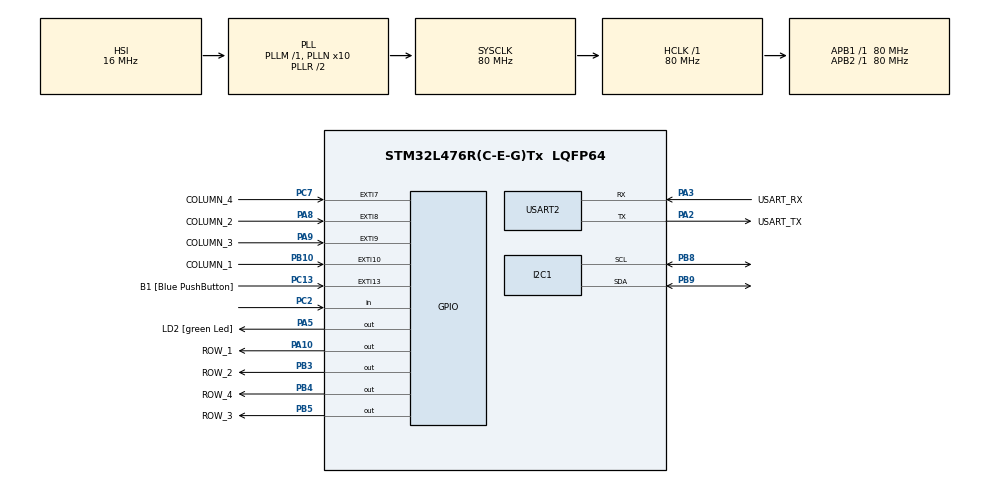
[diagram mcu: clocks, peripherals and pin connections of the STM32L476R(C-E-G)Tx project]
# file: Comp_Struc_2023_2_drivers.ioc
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I2C1.Timing=0x10909CEC
Mcu.Family=STM32L4
Mcu.Name=STM32L476R(C-E-G)Tx
Mcu.Package=LQFP64
NVIC.EXTI15_10_IRQn=true\:0\:0\:false\:false\:true\:true\:true\:true
NVIC.EXTI9_5_IRQn=true\:0\:0\:false\:false\:true\:true\:true\:true
NVIC.PriorityGroup=NVIC_PRIORITYGROUP_4
NVIC.USART2_IRQn=true\:0\:0\:false\:false\:true\:true\:true\:true
PA10.GPIO_Label=ROW_1
PA10.Signal=GPIO_Output
PA13\ (JTMS-SWDIO).GPIO_Label=TMS
PA13\ (JTMS-SWDIO).Mode=Serial_Wire
PA13\ (JTMS-SWDIO).Signal=SYS_JTMS-SWDIO
PA14\ (JTCK-SWCLK).GPIO_Label=TCK
PA14\ (JTCK-SWCLK).Mode=Serial_Wire
PA14\ (JTCK-SWCLK).Signal=SYS_JTCK-SWCLK
PA2.GPIO_Label=USART_TX
PA2.GPIO_Mode=GPIO_MODE_AF_PP
PA2.GPIO_PuPd=GPIO_NOPULL
PA2.GPIO_Speed=GPIO_SPEED_FREQ_VERY_HIGH
PA2.Mode=Asynchronous
PA2.Signal=USART2_TX
PA3.GPIO_Label=USART_RX
PA3.GPIO_Mode=GPIO_MODE_AF_PP
PA3.GPIO_PuPd=GPIO_NOPULL
PA3.GPIO_Speed=GPIO_SPEED_FREQ_VERY_HIGH
PA3.Mode=Asynchronous
PA3.Signal=USART2_RX
PA5.GPIO_Label=LD2 [green Led]
PA5.GPIO_ModeDefaultOutputPP=GPIO_MODE_OUTPUT_PP
PA5.GPIO_PuPd=GPIO_NOPULL
PA5.GPIO_Speed=GPIO_SPEED_FREQ_LOW
PA5.Signal=GPIO_Output
PA8.GPIO_Label=COLUMN_2
PA8.GPIO_PuPd=GPIO_PULLDOWN
PA8.Signal=GPXTI8
PA9.GPIO_Label=COLUMN_3
PA9.GPIO_PuPd=GPIO_PULLDOWN
PA9.Signal=GPXTI9
PB10.GPIO_Label=COLUMN_1
PB10.GPIO_PuPd=GPIO_PULLDOWN
PB10.Signal=GPXTI10
PB3\ (JTDO-TRACESWO).GPIO_Label=ROW_2
PB3\ (JTDO-TRACESWO).Signal=GPIO_Output
PB4\ (NJTRST).GPIO_Label=ROW_4
PB4\ (NJTRST).Signal=GPIO_Output
PB5.GPIO_Label=ROW_3
PB5.Signal=GPIO_Output
PB8.Mode=I2C
PB8.Signal=I2C1_SCL
PB9.Mode=I2C
PB9.Signal=I2C1_SDA
PC13.GPIO_Label=B1 [Blue PushButton]
PC13.GPIO_ModeDefaultEXTI=GPIO_MODE_IT_FALLING
PC13.GPIO_PuPd=GPIO_NOPULL
PC13.Signal=GPXTI13
PC14-OSC32_IN\ (PC14).Mode=LSE-External-Oscillator
PC14-OSC32_IN\ (PC14).Signal=RCC_OSC32_IN
PC15-OSC32_OUT\ (PC15).Mode=LSE-External-Oscillator
PC15-OSC32_OUT\ (PC15).Signal=RCC_OSC32_OUT
PC2.Signal=GPIO_Input
PC7.GPIO_Label=COLUMN_4
PC7.GPIO_PuPd=GPIO_PULLDOWN
PC7.Signal=GPXTI7
PH0-OSC_IN\ (PH0).Signal=RCC_OSC_IN
PH1-OSC_OUT\ (PH1).Signal=RCC_OSC_OUT
ProjectManager.HeapSize=0x200
ProjectManager.StackSize=0x400
ProjectManager.TargetToolchain=STM32CubeIDE
RCC.ADCFreq_Value=64000000
RCC.AHBFreq_Value=80000000
RCC.APB1Freq_Value=80000000
RCC.APB1TimFreq_Value=80000000
RCC.APB2Freq_Value=80000000
RCC.APB2TimFreq_Value=80000000
RCC.CortexFreq_Value=80000000
RCC.HCLKFreq_Value=80000000
RCC.HSE_VALUE=8000000
RCC.HSI_VALUE=16000000
RCC.MSI_VALUE=4000000
RCC.PLLN=10
RCC.PLLSourceVirtual=RCC_PLLSOURCE_HSI
RCC.PREFETCH_ENABLE=1
RCC.SYSCLKFreq_VALUE=80000000
RCC.SYSCLKSource=RCC_SYSCLKSOURCE_PLLCLK
RCC.USBFreq_Value=64000000
RCC.VCOOutputFreq_Value=160000000
USART2.VirtualMode-Asynchronous=VM_ASYNC
board=NUCLEO-L476RG

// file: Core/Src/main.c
/* USER CODE BEGIN Header */
/**
  ******************************************************************************
  * @file           : main.c
  * @brief          : Main program body
  ******************************************************************************
  * @attention
  *
  * Copyright (c) 2023 STMicroelectronics.
  * All rights reserved.
  *
  * This software is licensed under terms that can be found in the LICENSE file
  * in the root directory of this software component.
  * If no LICENSE file comes with this software, it is provided AS-IS.
  *
  ******************************************************************************
  */
/* USER CODE END Header */
#include "main.h"

/* USER CODE BEGIN Includes */
#include "ring_buffer.h"
#include "keyboard.h"
#include <stdio.h>
#include <string.h>
#include "ssd1306.h"
#include "ssd1306_fonts.h"
/* USER CODE END Includes */

I2C_HandleTypeDef hi2c1;
UART_HandleTypeDef huart2;

/* USER CODE BEGIN PV */
uint8_t rx_buffer[5]; // This is the buffer to be controlled by ring buffer
uint8_t password[] = {0x02,0x00,0x00,0x04,0x0F}; // Password is saved in buffer to be compared with rx_buffer
ring_buffer_t ring_buffer_uart_rx; // Control buffer
uint8_t rx_data;

uint8_t key_pressed;
uint16_t key_event = 0xFF;
uint8_t keyCount=0;

/* USER CODE END PV */

void SystemClock_Config(void);
static void MX_GPIO_Init(void);
static void MX_USART2_UART_Init(void);
static void MX_I2C1_Init(void);

/* USER CODE BEGIN 0 */

int _write(int file, char *ptr, int len)
{
	HAL_UART_Transmit(&huart2, (uint8_t*)ptr, len, HAL_MAX_DELAY);
	return len;
}

/**
  * @brief  Rx Transfer completed callback.
  * @param  huart UART handle.
  * @retval None
  */

HAL_UART_RxCpltCallback(UART_HandleTypeDef *huart)
{
	ring_buffer_put(&ring_buffer_uart_rx, key_pressed);

	HAL_UART_Receive_IT(&huart2, &key_pressed, 1);
}

void HAL_GPIO_EXTI_Callback(uint16_t GPIO_Pin)
{
    key_event = GPIO_Pin;
}

int memcmp(const void *str1, const void *str2, size_t n); // Memory comparation declaration function.

/* USER CODE END 0 */

int main(void)
{

  /* MCU Configuration--------------------------------------------------------*/

  /* Reset of all peripherals, Initializes the Flash interface and the Systick. */
  HAL_Init();

  /* Configure the system clock */
  SystemClock_Config();

  /* Initialize all configured peripherals */
  MX_GPIO_Init();
  MX_USART2_UART_Init();
  MX_I2C1_Init();
  /* USER CODE BEGIN 2 */
  ring_buffer_init(&ring_buffer_uart_rx, rx_buffer, 16);
  HAL_UART_Receive_IT(&huart2, &key_pressed, 1);
  ssd1306_Init();
  keypad_init();

  /* USER CODE END 2 */

  /* Infinite loop */
  /* USER CODE BEGIN WHILE */

	  ssd1306_Fill(Black); // Clear the OLED display with black color.
	  ssd1306_SetCursor(20, 20); // Set the cursor position for text.
	  ssd1306_WriteString("WAITING...",Font_11x18, White); // Display "WAITING..." in white color.
	  ssd1306_UpdateScreen(); // Update the OLED screen.

  while (1)
  {
	 	  uint8_t keypad_handler(uint16_t column_to_evaluate); // Read rows for each column case to identify key

	 	  if (key_event != 0xFF) { // check if there is a event from the EXTi callback

	 	  		  uint8_t key_pressed = keypad_handler(key_event); // call the keypad handler
	 	  		  uint16_t size = ring_buffer_size(&ring_buffer_uart_rx);

	 	  		  ring_buffer_put(&ring_buffer_uart_rx, key_pressed); // Add the key pressed to the UART RX buffer

	 	  		  for(int i=0; i<size+1; i++){
	 	  		  ring_buffer_get(&ring_buffer_uart_rx, &key_pressed); // Read buffer data
	 	  		  }

	 	  		  printf("Key pressed: %x\r\n", key_pressed); // print the key pressed
	 	  		  key_event = 0xFF; // clean the event
	 	  		  keyCount++; // Keys pressed counter

	 	  		  if(keyCount == 5){
	 	  			  // Print sequence every 5 keys pressed
	 	  			  printf("The sequence is %x, %x, %x, %x, %x \r\n", rx_buffer[0],rx_buffer[1],rx_buffer[2],rx_buffer[3],rx_buffer[4]);
	 	  			  keyCount = 0; // Restart counter+
	 	  		  }

						  if(key_pressed == 0x0E)
						  {
							  ring_buffer_reset(&ring_buffer_uart_rx); // Reset the UART RX buffer if a specific key is pressed
							  memset(rx_buffer,'\0',sizeof(rx_buffer)); // Clean buffer to restart sequence
							  ssd1306_Fill(Black); // Clear the OLED display with black color.
							  ssd1306_SetCursor(20, 20); // Set the cursor position for text.
							  ssd1306_WriteString("LOADING...",Font_11x18, White); // Display "LOADING..." in white color.
							  ssd1306_UpdateScreen(); // Update the OLED screen.
						  }

	 	  				  if((memcmp(rx_buffer, password, 5)==0) && (ring_buffer_is_full(&ring_buffer_uart_rx)==1))
						  {
							  ssd1306_Fill(White); // Clear the OLED display with white color.
							  ssd1306_SetCursor(20, 20); // Set the cursor position for text.
							  ssd1306_WriteString("PASS",Font_11x18, Black); // Display "PASS" in black color if password is correct.
							  ssd1306_UpdateScreen(); // Update the OLED screen
						  }

	 	  				  if((memcmp(rx_buffer, password, 5)!=0) && (ring_buffer_is_full(&ring_buffer_uart_rx)==1))
						  {
							  ssd1306_Fill(Black); // Clear the OLED display with black color.
							  ssd1306_SetCursor(20, 20); // Set the cursor position for text.
							  ssd1306_WriteString("FAIL",Font_11x18, White); // Display "FAIL" in black color if password is incorrect.
							  ssd1306_UpdateScreen(); // Update the OLED screen
						  }
	  }
    /* USER CODE END WHILE */

  }
}

void SystemClock_Config(void)
{
  RCC_OscInitTypeDef RCC_OscInitStruct = {0};
  RCC_ClkInitTypeDef RCC_ClkInitStruct = {0};

  /** Configure the main internal regulator output voltage
  */
  if (HAL_PWREx_ControlVoltageScaling(PWR_REGULATOR_VOLTAGE_SCALE1) != HAL_OK)
  {
    Error_Handler();
  }

  /** Initializes the RCC Oscillators according to the specified parameters
  * in the RCC_OscInitTypeDef structure.
  */
  RCC_OscInitStruct.OscillatorType = RCC_OSCILLATORTYPE_HSI;
  RCC_OscInitStruct.HSIState = RCC_HSI_ON;
  RCC_OscInitStruct.HSICalibrationValue = RCC_HSICALIBRATION_DEFAULT;
  RCC_OscInitStruct.PLL.PLLState = RCC_PLL_ON;
  RCC_OscInitStruct.PLL.PLLSource = RCC_PLLSOURCE_HSI;
  RCC_OscInitStruct.PLL.PLLM = 1;
  RCC_OscInitStruct.PLL.PLLN = 10;
  RCC_OscInitStruct.PLL.PLLP = RCC_PLLP_DIV7;
  RCC_OscInitStruct.PLL.PLLQ = RCC_PLLQ_DIV2;
  RCC_OscInitStruct.PLL.PLLR = RCC_PLLR_DIV2;
  if (HAL_RCC_OscConfig(&RCC_OscInitStruct) != HAL_OK)
  {
    Error_Handler();
  }

  /** Initializes the CPU, AHB and APB buses clocks
  */
  RCC_ClkInitStruct.ClockType = RCC_CLOCKTYPE_HCLK|RCC_CLOCKTYPE_SYSCLK
                              |RCC_CLOCKTYPE_PCLK1|RCC_CLOCKTYPE_PCLK2;
  RCC_ClkInitStruct.SYSCLKSource = RCC_SYSCLKSOURCE_PLLCLK;
  RCC_ClkInitStruct.AHBCLKDivider = RCC_SYSCLK_DIV1;
  RCC_ClkInitStruct.APB1CLKDivider = RCC_HCLK_DIV1;
  RCC_ClkInitStruct.APB2CLKDivider = RCC_HCLK_DIV1;

  if (HAL_RCC_ClockConfig(&RCC_ClkInitStruct, FLASH_LATENCY_4) != HAL_OK)
  {
    Error_Handler();
  }
}

static void MX_I2C1_Init(void)
{

  hi2c1.Instance = I2C1;
  hi2c1.Init.Timing = 0x10909CEC;
  hi2c1.Init.OwnAddress1 = 0;
  hi2c1.Init.AddressingMode = I2C_ADDRESSINGMODE_7BIT;
  hi2c1.Init.DualAddressMode = I2C_DUALADDRESS_DISABLE;
  hi2c1.Init.OwnAddress2 = 0;
  hi2c1.Init.OwnAddress2Masks = I2C_OA2_NOMASK;
  hi2c1.Init.GeneralCallMode = I2C_GENERALCALL_DISABLE;
  hi2c1.Init.NoStretchMode = I2C_NOSTRETCH_DISABLE;
  if (HAL_I2C_Init(&hi2c1) != HAL_OK)
  {
    Error_Handler();
  }

  /** Configure Analogue filter
  */
  if (HAL_I2CEx_ConfigAnalogFilter(&hi2c1, I2C_ANALOGFILTER_ENABLE) != HAL_OK)
  {
    Error_Handler();
  }

  /** Configure Digital filter
  */
  if (HAL_I2CEx_ConfigDigitalFilter(&hi2c1, 0) != HAL_OK)
  {
    Error_Handler();
  }

}

static void MX_USART2_UART_Init(void)
{

  huart2.Instance = USART2;
  huart2.Init.BaudRate = 115200;
  huart2.Init.WordLength = UART_WORDLENGTH_8B;
  huart2.Init.StopBits = UART_STOPBITS_1;
  huart2.Init.Parity = UART_PARITY_NONE;
  huart2.Init.Mode = UART_MODE_TX_RX;
  huart2.Init.HwFlowCtl = UART_HWCONTROL_NONE;
  huart2.Init.OverSampling = UART_OVERSAMPLING_16;
  huart2.Init.OneBitSampling = UART_ONE_BIT_SAMPLE_DISABLE;
  huart2.AdvancedInit.AdvFeatureInit = UART_ADVFEATURE_NO_INIT;
  if (HAL_UART_Init(&huart2) != HAL_OK)
  {
    Error_Handler();
  }

}

static void MX_GPIO_Init(void)
{
  GPIO_InitTypeDef GPIO_InitStruct = {0};

  /* GPIO Ports Clock Enable */
  __HAL_RCC_GPIOC_CLK_ENABLE();
  __HAL_RCC_GPIOH_CLK_ENABLE();
  __HAL_RCC_GPIOA_CLK_ENABLE();
  __HAL_RCC_GPIOB_CLK_ENABLE();

  /*Configure GPIO pin Output Level */
  HAL_GPIO_WritePin(GPIOA, LD2_Pin|ROW_1_Pin, GPIO_PIN_RESET);

  /*Configure GPIO pin Output Level */
  HAL_GPIO_WritePin(GPIOB, ROW_2_Pin|ROW_4_Pin|ROW_3_Pin, GPIO_PIN_RESET);

  /*Configure GPIO pin : B1_Pin */
  GPIO_InitStruct.Pin = B1_Pin;
  GPIO_InitStruct.Mode = GPIO_MODE_IT_FALLING;
  GPIO_InitStruct.Pull = GPIO_NOPULL;
  HAL_GPIO_Init(B1_GPIO_Port, &GPIO_InitStruct);

  /*Configure GPIO pin : PC2 */
  GPIO_InitStruct.Pin = GPIO_PIN_2;
  GPIO_InitStruct.Mode = GPIO_MODE_INPUT;
  GPIO_InitStruct.Pull = GPIO_NOPULL;
  HAL_GPIO_Init(GPIOC, &GPIO_InitStruct);

  /*Configure GPIO pins : LD2_Pin ROW_1_Pin */
  GPIO_InitStruct.Pin = LD2_Pin|ROW_1_Pin;
  GPIO_InitStruct.Mode = GPIO_MODE_OUTPUT_PP;
  GPIO_InitStruct.Pull = GPIO_NOPULL;
  GPIO_InitStruct.Speed = GPIO_SPEED_FREQ_LOW;
  HAL_GPIO_Init(GPIOA, &GPIO_InitStruct);

  /*Configure GPIO pin : COLUMN_1_Pin */
  GPIO_InitStruct.Pin = COLUMN_1_Pin;
  GPIO_InitStruct.Mode = GPIO_MODE_IT_RISING;
  GPIO_InitStruct.Pull = GPIO_PULLDOWN;
  HAL_GPIO_Init(COLUMN_1_GPIO_Port, &GPIO_InitStruct);

  /*Configure GPIO pin : COLUMN_4_Pin */
  GPIO_InitStruct.Pin = COLUMN_4_Pin;
  GPIO_InitStruct.Mode = GPIO_MODE_IT_RISING;
  GPIO_InitStruct.Pull = GPIO_PULLDOWN;
  HAL_GPIO_Init(COLUMN_4_GPIO_Port, &GPIO_InitStruct);

  /*Configure GPIO pins : COLUMN_2_Pin COLUMN_3_Pin */
  GPIO_InitStruct.Pin = COLUMN_2_Pin|COLUMN_3_Pin;
  GPIO_InitStruct.Mode = GPIO_MODE_IT_RISING;
  GPIO_InitStruct.Pull = GPIO_PULLDOWN;
  HAL_GPIO_Init(GPIOA, &GPIO_InitStruct);

  /*Configure GPIO pins : ROW_2_Pin ROW_4_Pin ROW_3_Pin */
  GPIO_InitStruct.Pin = ROW_2_Pin|ROW_4_Pin|ROW_3_Pin;
  GPIO_InitStruct.Mode = GPIO_MODE_OUTPUT_PP;
  GPIO_InitStruct.Pull = GPIO_NOPULL;
  GPIO_InitStruct.Speed = GPIO_SPEED_FREQ_LOW;
  HAL_GPIO_Init(GPIOB, &GPIO_InitStruct);

  /* EXTI interrupt init*/
  HAL_NVIC_SetPriority(EXTI9_5_IRQn, 0, 0);
  HAL_NVIC_EnableIRQ(EXTI9_5_IRQn);

  HAL_NVIC_SetPriority(EXTI15_10_IRQn, 0, 0);
  HAL_NVIC_EnableIRQ(EXTI15_10_IRQn);

}

void Error_Handler(void)
{
  __disable_irq();
  while (1)
  {
  }
}
